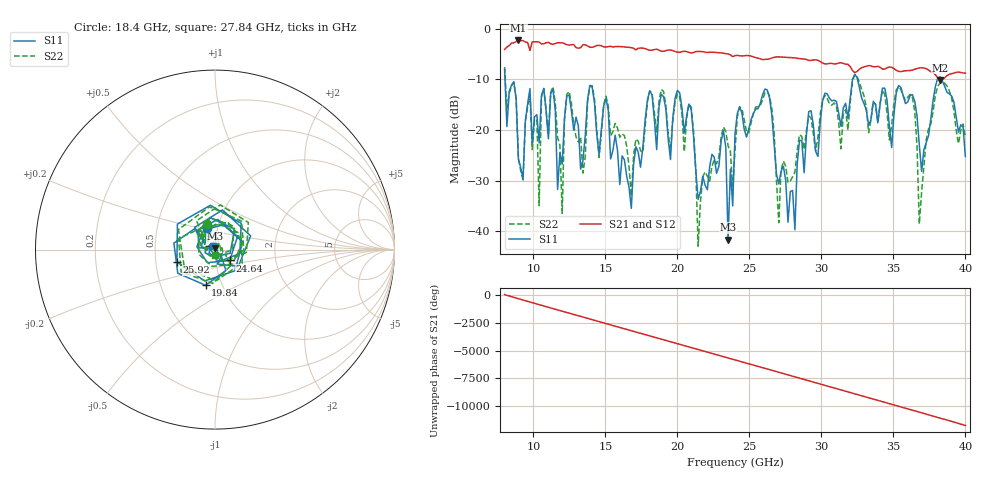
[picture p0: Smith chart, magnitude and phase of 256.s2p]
!Agilent Technologies,N5227A,US51270464,A.10.00.00
!Agilent N5227A: A.10.00.00
!Date: Thursday, July 23, 2020 14:58:53
!Correction: S11(Full 2 Port(1,2))
!S21(Full 2 Port(1,2))
!S12(Full 2 Port(1,2))
!S22(Full 2 Port(1,2))
!S2P File: Measurements: S11, S21, S12, S22:
# Hz S  RI  R 50
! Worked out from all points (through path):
!   201 points, 8 GHz to 40 GHz, reference 50 ohm
!   highest |S21| = -2.34 dB at 8.96 GHz (marker M1); lowest = -10.2 dB at 38.24 GHz (marker M2)
!   lowest |S11| = -41.7 dB at 23.52 GHz (marker M3), VSWR 1.02, Z = 50.1 + j0.825 ohm
!   |S11| at or under -10 dB: 8.027 GHz to 32.16 GHz (24.13 GHz wide, 120 % of centre); 32.51 GHz to 38.06 GHz (5.549 GHz wide, 15.7 % of centre); 38.34 GHz to end of sweep
!   |S22| runs from -43.0 to -7.6 dB; largest |S21 - S12| = 0.00038
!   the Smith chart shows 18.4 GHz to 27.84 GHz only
!   S11 on the Smith chart (normalised r, x): 18.4 GHz: 0.89, +0.21; 19.84 GHz: 0.84, -0.35; 24.64 GHz: 1.17, -0.14; 25.92 GHz: 0.64, -0.09; 27.84 GHz: 0.97, +0.04
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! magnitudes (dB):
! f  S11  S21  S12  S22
! 8 GHz  -8.1  -4.1  -4.1  -7.6
! 8.96 GHz  -25.7  -2.3  -2.3  -25.7
! 13.44 GHz  -26.1  -3.2  -3.2  -28.5
! 13.92 GHz  -11.2  -3.7  -3.7  -11.3
! 16.8 GHz  -35.5  -3.7  -3.7  -33.0
! 18.4 GHz  -17.9  -4.1  -4.1  -16.6
! 18.72 GHz  -15.5  -4.2  -4.2  -14.4
! 19.84 GHz  -13.7  -4.5  -4.5  -14.5
! 20.96 GHz  -16.0  -4.8  -4.8  -15.5
! 21.44 GHz  -33.7  -4.5  -4.5  -43.0
! 23.2 GHz  -20.1  -4.9  -4.9  -19.4
! 23.52 GHz  -41.7  -5.0  -5.0  -23.2
! 24 GHz  -20.9  -5.3  -5.3  -24.2
! 24.64 GHz  -19.9  -5.4  -5.4  -18.0
! 25.92 GHz  -13.0  -6.1  -6.1  -14.0
! 27.84 GHz  -32.2  -5.7  -5.7  -30.1
! 29.44 GHz  -19.0  -6.2  -6.2  -20.8
! 34.72 GHz  -19.3  -7.6  -7.6  -22.0
! 36.32 GHz  -13.0  -8.2  -8.2  -13.6
! 36.8 GHz  -23.0  -7.8  -7.8  -38.6
! 38.24 GHz  -9.5  -10.2  -10.2  -10.8
! 40 GHz  -25.3  -8.8  -8.8  -21.5
